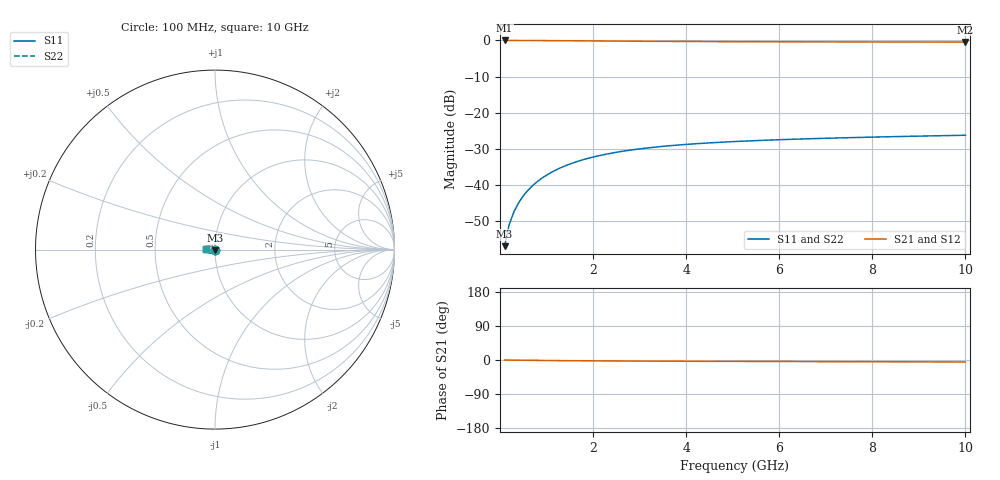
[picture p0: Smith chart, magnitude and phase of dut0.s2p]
! Touchstone file exported from HFSS 2024.1.0
!  File:  C:/UserFiles/LocalFiles/RDL_TSV_Batchsim/temp_TSV1_0_1778745865.aedt
!  Generated:  04:11:09 PM May 14, 2026
!  Design:  TSV1
!  Project:  temp_TSV1_0_1778745865
!  Setup:  Setup1
!  Solution:  Sweep
! Variables:
!  dtsv = 12.19um
!  hbump = 3um
!  htsv = 80.07um
!  lrdl = 252.1521522um
!  p = 40
!  p1 = 59.79um
!  t = 500um
!  trdl = 3um
!  wrdl = 24.89489489um
# GHz S MA R 50.000000
! Terminal data exported
! Port[1] = TSV22_T1
! Port[2] = TSV22_T2
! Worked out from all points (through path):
!   100 points, 100 MHz to 10 GHz, reference 50 ohm
!   highest |S21| = 0.00 dB at 100 MHz (marker M1); lowest = -0.4 dB at 10 GHz (marker M2)
!   lowest |S11| = -57.0 dB at 100 MHz (marker M3), VSWR 1.00, Z = 50 - j0.142 ohm
!   |S11| at or under -10 dB: start of sweep to end of sweep
!   |S22| runs from -57.0 to -26.2 dB; largest |S21 - S12| = 4.1e-15
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0.1  0.00142 -88.2  0.9998 -0.1  0.9998 -0.1  0.00142 -88.2
! Gamma 0 0 0 0
! Port Impedance 50 0 50 0
0.2  0.002834 -92.0  0.9997 -0.3  0.9997 -0.3  0.002834 -92.0
0.3  0.004246 -94.6  0.9994 -0.4  0.9994 -0.4  0.004246 -94.6
0.4  0.00565 -96.9  0.999 -0.5  0.999 -0.5  0.00565 -96.9
0.5  0.00704 -99.1  0.9986 -0.7  0.9986 -0.7  0.00704 -99.1
0.6  0.008412 -101.3  0.9981 -0.8  0.9981 -0.8  0.008412 -101.3
0.7  0.009762 -103.3  0.9974 -0.9  0.9974 -0.9  0.009762 -103.3
0.8  0.01109 -105.4  0.9967 -1.1  0.9967 -1.1  0.01109 -105.4
0.9  0.01238 -107.4  0.996 -1.2  0.996 -1.2  0.01238 -107.4
1.1  0.01487 -111.3  0.9943 -1.4  0.9943 -1.4  0.01487 -111.3
1.4  0.01835 -116.8  0.9915 -1.7  0.9915 -1.7  0.01835 -116.8
1.6  0.02048 -120.3  0.9895 -1.9  0.9895 -1.9  0.02048 -120.3
1.8  0.02247 -123.6  0.9874 -2.1  0.9874 -2.1  0.02247 -123.6
2.1  0.02517 -128.2  0.9843 -2.3  0.9843 -2.3  0.02517 -128.2
2.5  0.02829 -133.9  0.9803 -2.6  0.9803 -2.6  0.02829 -133.9
2.9  0.03094 -139.1  0.9765 -2.8  0.9765 -2.8  0.03094 -139.1
3.4  0.0337 -144.9  0.9723 -3.0  0.9723 -3.0  0.0337 -144.9
4.2  0.03714 -152.8  0.9668 -3.4  0.9668 -3.4  0.03714 -152.8
5.1  0.04002 -160.2  0.962 -3.7  0.962 -3.7  0.04002 -160.2
6.7  0.04367 -170.8  0.9561 -4.2  0.9561 -4.2  0.04367 -170.8
8.4  0.0465 -179.8  0.9521 -4.7  0.9521 -4.7  0.0465 -179.8
10  0.04873 173.0  0.9496 -5.3  0.9496 -5.3  0.04873 173.0
